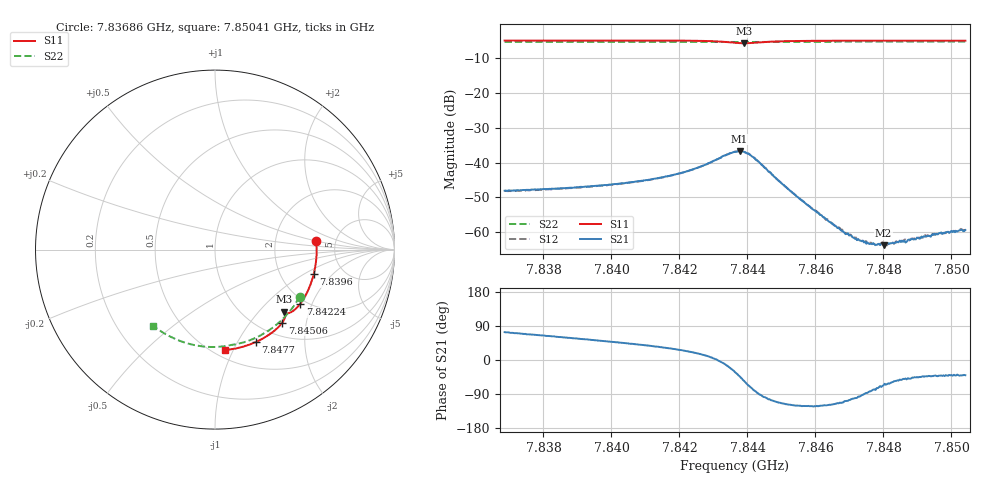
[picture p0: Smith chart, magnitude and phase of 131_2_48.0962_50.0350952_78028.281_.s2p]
#  HZ  S  RI  R  50.00
! Rohde & Schwarz Vector Network Analyzer
! Rohde-Schwarz,ZNB20-2Port,1311601062101988,3.16
! Created: UTC 12/23/2023, 3:47:45 AM
! freq[Hz]  re:S11  im:S11  re:S21  im:S21  re:S12  im:S12  re:S22  im:S22
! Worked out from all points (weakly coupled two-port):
!   401 points, 7.83686 GHz to 7.85041 GHz, reference 50 ohm
!   highest |S21| = -36.71 dB at 7.84377 GHz (marker M1); lowest = -63.8 dB at 7.848 GHz (marker M2)
!   lowest |S11| = -5.7 dB at 7.8439 GHz (marker M3), VSWR 3.14, Z = 73.4 - j69.3 ohm
!   |S11| at or under -10 dB: nowhere
!   |S22| runs from -5.4 to -5.3 dB; largest |S21 - S12| = 0.00027
!   S11 on the Smith chart (normalised r, x): 7.83686 GHz: 3.54, +0.47; 7.8396 GHz: 3.07, -1.24; 7.84224 GHz: 1.86, -1.65; 7.84506 GHz: 1.25, -1.46; 7.8477 GHz: 0.79, -1.20; 7.85041 GHz: 0.57, -0.93
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7.836856e9  0.5644 0.0452  0.00112 0.00377  0.00116 0.00371  0.472 -0.2613
7.839126e9  0.5571 -0.1054  0.00253 0.00367  0.00251 0.00365  0.3763 -0.3879
7.839601e9  0.5501 -0.1366  0.00291 0.00363  0.00283 0.00365  0.3519 -0.4104
7.840719e9  0.5266 -0.2085  0.00398 0.00352  0.0039 0.00352  0.2889 -0.4572
7.841396e9  0.5069 -0.2511  0.00496 0.0034  0.00491 0.00338  0.2477 -0.4811
7.842243e9  0.4746 -0.3024  0.00694 0.00293  0.00691 0.00298  0.1935 -0.5055
7.843124e9  0.4248 -0.3483  0.0112 -0.000145  0.0112 -8.97e-05  0.1342 -0.5237
7.843632e9  0.3892 -0.3527  0.012 -0.00751  0.0123 -0.00755  0.1001 -0.5299
7.843768e9  0.3845 -0.349  0.0107 -0.00997  0.0106 -0.0101  0.0916 -0.5312
7.843904e9  0.384 -0.3457  0.00804 -0.0117  0.0081 -0.0117  0.083 -0.5325
7.844208e9  0.3912 -0.3514  0.00184 -0.0114  0.00176 -0.0114  0.0633 -0.5365
7.845056e9  0.3751 -0.4063  -0.00201 -0.00432  -0.00201 -0.00439  0.00434 -0.5426
7.845903e9  0.3331 -0.4502  -0.00114 -0.00183  -0.00117 -0.00185  -0.0554 -0.5409
7.846817e9  0.2815 -0.4866  -0.000377 -0.000946  -0.000357 -0.000959  -0.1191 -0.5312
7.847292e9  0.2533 -0.5026  -8.6e-05 -0.000755  -6.49e-05 -0.000751  -0.1513 -0.523
7.847698e9  0.2285 -0.5144  0.000142 -0.000679  0.00012 -0.000672  -0.1787 -0.5146
7.847834e9  0.2202 -0.5179  0.000182 -0.000647  0.000191 -0.000637  -0.1877 -0.5115
7.848003e9  0.2099 -0.5224  0.000257 -0.000594  0.000251 -0.000647  -0.1988 -0.5074
7.848173e9  0.1992 -0.5266  0.000318 -0.000606  0.000303 -0.000606  -0.21 -0.5031
7.848647e9  0.1694 -0.537  0.000467 -0.000533  0.000479 -0.000618  -0.2401 -0.4896
7.84963e9  0.1058 -0.5528  0.000723 -0.000637  0.000737 -0.000616  -0.3002 -0.4558
7.850409e9  0.0544 -0.5597  0.000818 -0.000694  0.000847 -0.000729  -0.3443 -0.424
